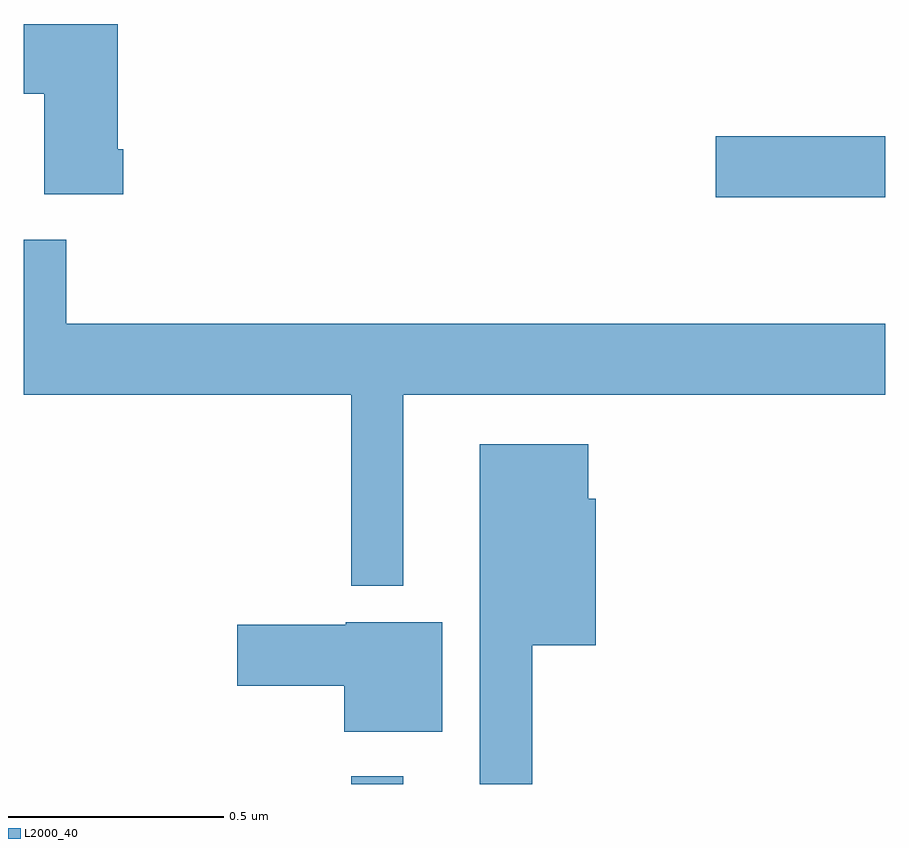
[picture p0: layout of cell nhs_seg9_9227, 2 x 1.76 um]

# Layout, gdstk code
import gdstk
lib = gdstk.Library(unit=1e-6, precision=1e-09)
def R(c, l, rs):  # rectangles x0, y0, x1, y1
    for r in rs: c.add(gdstk.rectangle(r[:2], r[2:], *l))
def P(c, l, *ps):  # polygons
    for p in ps: c.add(gdstk.Polygon(p, *l))
L2000_40 = (2000, 40)

nhs_seg9_9227 = lib.new_cell('nhs_seg9_9227')
R(nhs_seg9_9227, L2000_40, [(227.76,1211.5,227.881,1211.518), (228.606,1212.862,229,1213.004)])
P(nhs_seg9_9227, L2000_40, [(227.231,1212.973),(227.218,1212.973),(227.218,1213.264),(227,1213.264),(227,1213.102),(227.048,1213.102),(227.048,1212.869),(227.231,1212.869)],
  [(227.881,1212.404),(229,1212.404),(229,1212.568),(227.099,1212.568),(227.099,1212.763),(227,1212.763),(227,1212.404),(227.76,1212.404),(227.76,1211.96),(227.881,1211.96)],
  [(228.181,1211.822),(228.328,1211.822),(228.328,1212.162),(228.31,1212.162),(228.31,1212.289),(228.059,1212.289),(228.059,1211.5),(228.181,1211.5)],
  [(227.971,1211.875),(227.748,1211.875),(227.748,1211.87),(227.496,1211.87),(227.496,1211.728),(227.744,1211.728),(227.744,1211.621),(227.971,1211.621)])

lib.write_gds('nhs_seg9_9227.gds')
